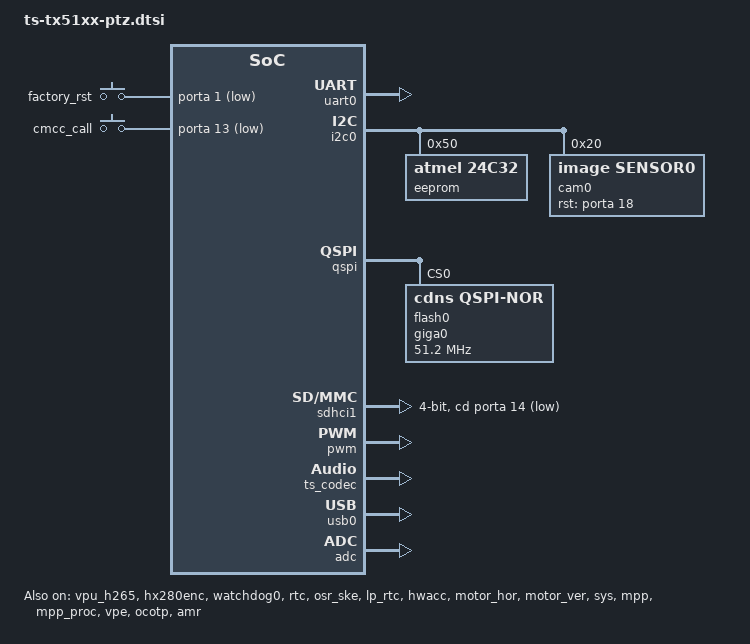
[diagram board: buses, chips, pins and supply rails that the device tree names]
// SPDX-License-Identifier: GPL-2.0+
/*
 * dts file for tsingmicro tx51xx
 *
 * Copyright 2022 Beijing Tsingmicro Intelligent Technology Co.,Ltd.
 *
 */

#include "ts-tx5112.dtsi"
#include "ts-tx5112-clk.dtsi"
#include "ts-tx5112-reset.dtsi"
#include "ts-tx51xx-ptz-pinctrl.dtsi"

/ {
	chosen {
		/*bootargs = "console=ttyS0,115200n8 initrd=0xc4000000,4M init=/linuxrc
		 * root=/dev/ram0 rw rootfstype=ext4 rootwait ignore_loglevel earlycon";
		 */
		bootargs = "console=ttyS0,115200n8 earlycon";
		/*bootargs = "console=ttyS0,115200n8 ignore_loglevel";
		 *bootargs = "root=/dev/ram0 rw ramdisk=8192 initrd=0x41000000,8M
		 *console=ttyS0,115200n8 init=/linuxrc";
		 */
		stdout-path = "serial0:115200";
	};

	sound {
		status = "disabled";
		compatible = "ts-es8388,tx5112";
		model = "ts-audio-es8388";
		i2s-controller = <&i2s>;
		audio-codec = <&codec>;
		//codec-master;
	};
	gpio-keys {
		compatible = "gpio-keys";
		pinctrl-names = "default","default";
		pinctrl-0 = <&gpioa1_pinctrl>;
		pinctrl-1 = <&gpioa13_pinctrl>;
		FACTORY {
			label = "factory_rst";
			gpios = <&porta 1 GPIO_ACTIVE_LOW>;
			linux,code = <0x101>;
			gpio-key,wakeup;
			debounce-interval = <10>;
		};

		CMCC_CALL {
			label = "cmcc_call";
			gpios = <&porta 13 GPIO_ACTIVE_LOW>;
			linux,code = <0x102>;
			gpio-key,wakeup;
			debounce-interval = <10>;
		};
	};
};

&systimer0_0 {
	status = "disabled";
};

&uart0 {
	status = "okay";
};

&uart1 {
	pinctrl-names = "default";
	// pinctrl-0 = <&uart1_pinctrl>;
	status = "disabled";
};

&gpio0 {
	pinctrl-names = "default";
	pinctrl-0 = <&ir_cut_gpio_pinctrl>;
	status = "okay";
};

&gpio1 {
	pinctrl-names = "default";
	// pinctrl-0 = <&gpiob11_pinctrl>;
	status = "okay";
};

&usart0 {
	status = "disabled";
	pinctrl-names = "default";
	pinctrl-0 = <&usi0_pinctrl>;
};

#if 0


&usart1 {
	status = "disabled";
	pinctrl-names = "default";
	pinctrl-0 = <&usi1_pinctrl>;
};

&smu{
	status = "okay";
};

/*
 *&smmu {
 *	status = "disabled";
 *};
 */
#endif

&rne_dma {
	status = "okay";
};

&uspi0 {
	status = "disabled";
	#address-cells = <0x1>;
	#size-cells = <0x0>;
	pinctrl-names = "default";
	pinctrl-0 = <&usi0_pinctrl &gpioa9_pinctrl>;
	uspics-gpios = <&porta 9 GPIO_ACTIVE_HIGH>;
	uspi0_flash0:w25q64@00 {
		status = "okay";
		compatible = "winbond,w25q64","jedec,spi-nor";
		reg = <0>;
		spi-max-frequency = <8000000>;
		#address-cells = <1>;
		#size-cells = <1>;
		partition@usi2spi-test0{
			label = "test0";
			reg = <0x0 0x800000>; /* 8MB */
		};

	};
};

&i2c0 {
	status = "okay";
	pinctrl-names = "default";
	pinctrl-0 = <&i2c0_pinctrl_0>;
	eeprom: eeprom@50 {
		compatible = "atmel,24c32";
		reg = <0x50>;
		pagesize = <32>;
	};

	cam0: imgsensor0@20 {
		compatible = "image,sensor0";
		reg = <0x20>;

		pinctrl-names = "default", "default";
		pinctrl-0 = <&gpioa18_pinctrl>;
		pinctrl-1 = <&chip_out0_pinctrl>;
		rst-gpios = <&porta 18 GPIO_ACTIVE_HIGH>;

		clocks = <&ts_clk TS_CLK_TX5112_CHIP_OCLK_I0>;
		clock-names = "mclk";
		assigned-clocks = <&ts_clk TS_CLK_TX5112_CHIP_OCLK_I0>;
		assigned-clock-rates = <24000000>;
	};
};

&i2s {
	status = "disabled";
	dmas = <&dwahbdma1 0x5 2 1 &dwahbdma1 0x4 1 0>;
	dma-names = "tx", "rx";
	pinctrl-names = "default";
	pinctrl-0 = <&i2s_pinctrl_1>;
};

&ui2c0 {
	status = "disabled";
	pinctrl-names = "default";
	pinctrl-0 = <&usi0_pinctrl>;
	eeprom1: eeprom1@50 {
		compatible = "atmel,24c32";
		reg = <0x50>;
		pagesize = <32>;
	};
};

#if 0
&ui2c1 {
	status = "disabled";
	pinctrl-names = "default";
	pinctrl-0 = <&usi1_pinctrl>;
};


&i2c3 {
	status = "disabled";
};


&dp0 {
	status = "okay";
	port {
		dp0_output: endpoint {
			remote-endpoint = <&hdmi_virt_input>;
		};
	};
};
#endif

&i2c1 {
	status = "disabled";
	pinctrl-names = "default";
	pinctrl-0 = <&i2c1_pinctrl>;

	codec: es8388@11 {
		//ce-gpios = <&porta 15 GPIO_ACTIVE_HIGH>;
		compatible = "everest,es8388";
		clocks = <&misc_clk>;
		reg = <0x11>;
	};

};

&vpu_h265 {
	status = "okay";
};

&hx280enc {
	status = "okay";
};

&qspi {
	status = "okay";
	page-size = <256>;
	block-size = <16>;
	#address-cells = <1>;
	#size-cells = <0>;

#if 0
	nand1:spi-nand@0 {
		status = "okay";
		compatible = "spi-nand";
		reg = <0>; /* CS0 */
		//spi-max-frequency = <77000000>;
		spi-max-frequency = <51000000>;
		//spi-max-frequency = <10000000>;
		page-size = <2048>;
		block-size = <131072>;
		spi-rx-bus-width = <4>;
		spi-tx-bus-width = <4>;
		cdns,read-delay = <2>;
		cdns,tshsl-ns = <0>;
		cdns,tsd2d-ns = <0>;
		cdns,tchsh-ns = <0>;
		cdns,tslch-ns = <0>;
		nand-ecc-mode = "on-die";
		nand-on-flash-bbt;
		//nand-ecc-strength = <4>;
		//nand-ecc-step-size = <512>;
		//nand-ecc-maximize = <8>;
		partitions {
			compatible = "fixed-partitions";
			#address-cells = <1>;
			#size-cells = <1>;

			/* reserved for future boot direct from NAND flash
			 * (this would use the same layout as the 8MiB NOR flash)
			 */
			partition@0 {
				label = "nand-boot-reserved";
				reg = <0 0x800000>;
			};

			/* recovery / install environment */
			partition@800000 {
				label = "recovery";
				reg = <0x800000 0x2000000>;
			};

			/* ubia (first OpenWrt) - a/b names to prevent confusion with ubi0/1/etc. */
			partition@2800000 {
				label = "ubia";
				reg = <0x2800000 0x3C00000>;
			};
#if 0
			/* ubib (second OpenWrt) */
			partition@6400000 {
				label = "ubib";
				reg = <0x6400000 0x3C00000>;
			};
#endif
		};
	};
#else
	flash0: giga0@0 {
		reg = <0>; /* CS0 */
		compatible = "cdns,qspi-nor";
		cdns,read-delay = <2>;
		cdns,tshsl-ns = <40>;
		cdns,tsd2d-ns = <50>;
		cdns,tchsh-ns = <3>;
		cdns,tslch-ns = <4>;
		spi-max-frequency = <51200000>;
		#address-cells = <1>;
		#size-cells = <1>;
		spi-rx-bus-width = <4>;
		spi-tx-bus-width = <4>;
	};
#endif
};

&sdhci1 {
	status = "okay";
	max-frequency = <25000000>;
	no-1-8-v;
	bus-width = <4>;
	cap-sd-highspeed;
	pinctrl-names = "default";
	pinctrl-0 = <&mshc1_pinctrl &emmc1_pinctrl &sd_pwr_pinctrl>;
	card-detect-delay = <200>;
	cd-gpios = <&porta 14 GPIO_ACTIVE_LOW>;
	sdpwr-gpios = <&porta 15 GPIO_ACTIVE_LOW>;
};

&spi0 {
	status = "disabled";
	#address-cells = <1>;
	#size-cells = <0>;
	pinctrl-names = "default";
	pinctrl-0 = <&spi0_pinctrl &gpioa30_pinctrl>;
	cs-gpios = <&porta 30 GPIO_ACTIVE_LOW>;
	spi0_flash0: wnbnd0@0 {
		compatible = "jedec,spi-nor";
		spi-max-frequency = <1000000>;
		reg = <0>;
		#address-cells = <1>;
		#size-cells = <1>;
		partition@spi-test0{
			label = "test0";
			reg = <0x0 0x800000>; /* 8MB */
		};
	};
};

&watchdog0 {
	status = "okay";
};

&pwm {
	status = "okay";
	pinctrl-names = "default";
	pinctrl-0 = <&pwm0_pinctrl>;
};

&rtc {
	status = "okay";
};

&osr_ske {
	status = "okay";
};

&lp_rtc {
	status = "okay";
};

&pinctrl {
	status = "okay";
};

&hwacc {
	status = "okay";
};

&dwahbdma0 {
	status = "disabled";
};

&dwahbdma1 {
	status = "okay";
};

&dw_axi_dmac {
	status = "okay";
};

&hwacc {
	status = "okay";
};


&motor_hor {
	status = "okay";
	pinctrl-names = "default";
	pinctrl-0 = <&motor_pinctrl0>;
	motor1-gpios = <&porta 0 GPIO_ACTIVE_HIGH>;
	motor2-gpios = <&porta 2 GPIO_ACTIVE_HIGH>;
	motor3-gpios = <&porta 3 GPIO_ACTIVE_HIGH>;
	motor4-gpios = <&porta 4 GPIO_ACTIVE_HIGH>;
};

&motor_ver {
	status = "okay";
	pinctrl-names = "default";
	pinctrl-0 = <&motor_pinctrl1>;
	motor1-gpios = <&porta 5 GPIO_ACTIVE_HIGH>;
	motor2-gpios = <&porta 6 GPIO_ACTIVE_HIGH>;
	motor3-gpios = <&porta 7 GPIO_ACTIVE_HIGH>;
	motor4-gpios = <&porta 8 GPIO_ACTIVE_HIGH>;
};


&pdmic {
	status = "disabled";
	pinctrl-names = "default";
	pinctrl-0 = <&pdmic_pinctrl_0>;
	ts,model = "PDMIC @ tsm-tx5215-fpga";
	ts,mic-min-freq = <1024000>;
	ts,mic-max-freq = <3072000>;
	ts,mic-offset = <0x0>;
	dmas = <&dwahbdma1 0x6 1 0>;
	dma-names = "rx";
};

&ts_codec {
	status = "okay";
	ts,model = "ts-codec";
	dmas = <&dwahbdma1 0xe 1 1 &dwahbdma1 0xd 1 0>;
	dma-names = "tx","rx";
	pinctrl-names = "default";
	pinctrl-0 = <&gpioa19_pinctrl>;
	speaker-gpios = <&porta 19 GPIO_ACTIVE_HIGH>;
};

&sys {
	status = "okay";
};

&mpp {
	status = "okay";
};

&mpp_proc {
	status = "okay";
};

&vpe {
	status = "okay";
};

&usb0 {
	status = "okay";
	pinctrl-names = "default";
	pinctrl-0 = <&drvvbus_pinctrl>;
	drvvbus-gpios  = <&porta 9 GPIO_ACTIVE_HIGH>;
};

&ocotp {
	status = "okay";
};

&adc {
	status = "okay";
};

&amr {
	status = "okay";
};
